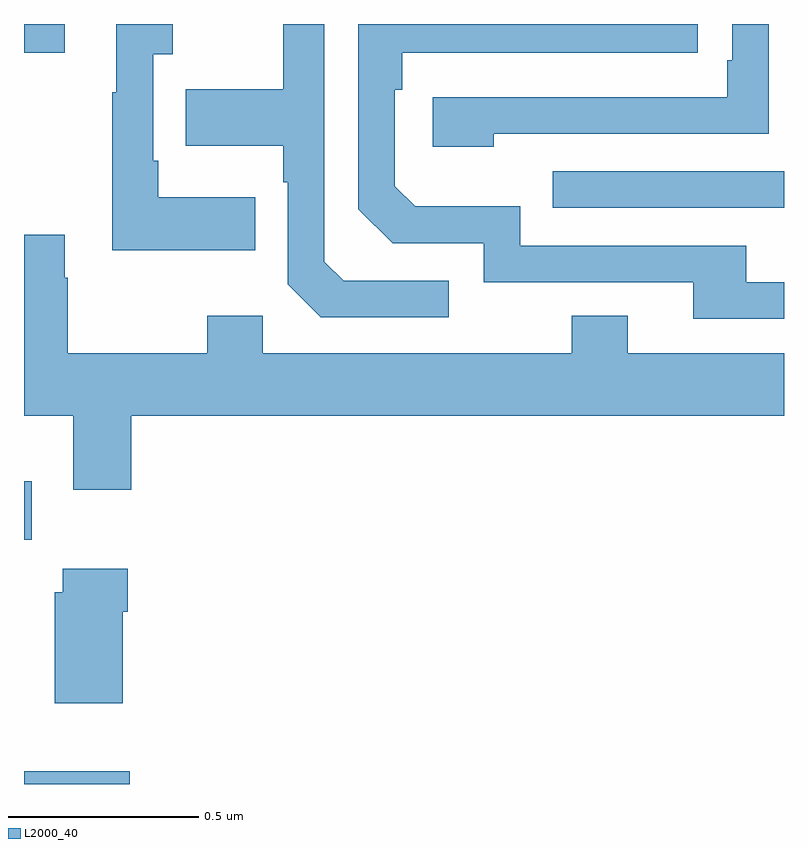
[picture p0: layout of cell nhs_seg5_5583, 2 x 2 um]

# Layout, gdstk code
import gdstk
lib = gdstk.Library(unit=1e-6, precision=1e-09)
def R(c, l, rs):  # rectangles x0, y0, x1, y1
    for r in rs: c.add(gdstk.rectangle(r[:2], r[2:], *l))
def P(c, l, *ps):  # polygons
    for p in ps: c.add(gdstk.Polygon(p, *l))
L2000_40 = (2000, 40)

nhs_seg5_5583 = lib.new_cell('nhs_seg5_5583')
R(nhs_seg5_5583, L2000_40, [(185,847.799,185.278,847.833), (185,848.442,185.02,848.596), (186.391,849.315,187,849.411), (185,849.723,185.107,849.799)])
P(nhs_seg5_5583, L2000_40, [(186.118,849.123),(185.841,849.123),(185.79,849.174),(185.79,849.799),(185.682,849.799),(185.682,849.627),(185.425,849.627),(185.425,849.479),(185.682,849.479),(185.682,849.383),(185.694,849.383),(185.694,849.114),(185.781,849.027),(186.118,849.027)],
  [(186.236,849.51),(186.96,849.51),(186.96,849.799),(186.864,849.799),(186.864,849.703),(186.851,849.703),(186.851,849.606),(186.075,849.606),(186.075,849.476),(186.236,849.476)],
  [(187,849.12),(186.901,849.12),(186.901,849.216),(186.306,849.216),(186.306,849.319),(186.029,849.319),(185.976,849.372),(185.976,849.626),(185.996,849.626),(185.996,849.723),(186.671,849.723),(186.671,849.724),(186.773,849.724),(186.773,849.799),(185.88,849.799),(185.88,849.312),(185.97,849.222),(186.21,849.222),(186.21,849.12),(186.761,849.12),(186.761,849.024),(187,849.024)],
  [(185.609,849.343),(185.353,849.343),(185.353,849.439),(185.34,849.439),(185.34,849.719),(185.392,849.719),(185.392,849.799),(185.243,849.799),(185.243,849.619),(185.232,849.619),(185.232,849.203),(185.609,849.203)],
  [(185.282,848.768),(187,848.768),(187,848.932),(186.589,848.932),(186.589,849.031),(186.442,849.031),(186.442,848.932),(185.628,848.932),(185.628,849.031),(185.482,849.031),(185.482,848.932),(185.115,848.932),(185.115,849.131),(185.107,849.131),(185.107,849.244),(185,849.244),(185,848.768),(185.129,848.768),(185.129,848.574),(185.282,848.574)],
  [(185.26,848.252),(185.273,848.252),(185.273,848.365),(185.102,848.365),(185.102,848.304),(185.081,848.304),(185.081,848.012),(185.26,848.012)])

lib.write_gds('nhs_seg5_5583.gds')
